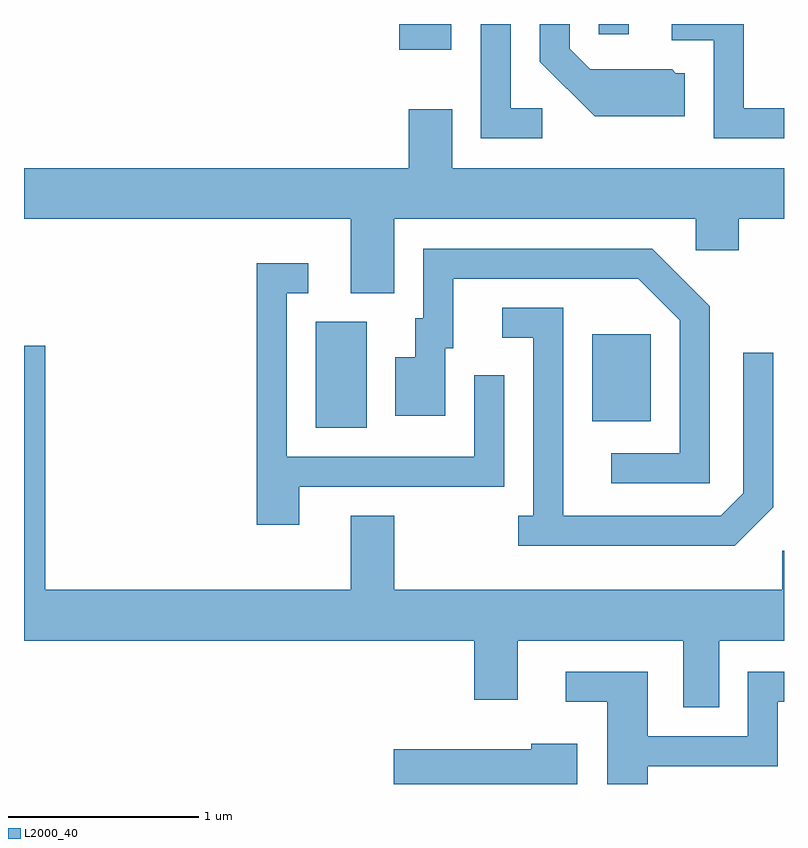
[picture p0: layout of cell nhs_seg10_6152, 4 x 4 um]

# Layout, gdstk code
import gdstk
lib = gdstk.Library(unit=1e-6, precision=1e-09)
def R(c, l, rs):  # rectangles x0, y0, x1, y1
    for r in rs: c.add(gdstk.rectangle(r[:2], r[2:], *l))
def P(c, l, *ps):  # polygons
    for p in ps: c.add(gdstk.Polygon(p, *l))
L2000_40 = (2000, 40)

nhs_seg10_6152 = lib.new_cell('nhs_seg10_6152')
R(nhs_seg10_6152, L2000_40, [(369.146,2088.396,369.414,2088.954), (370.601,2088.431,370.909,2088.889), (369.586,2090.386,369.859,2090.522), (370.636,2090.468,370.794,2090.522)])
P(nhs_seg10_6152, L2000_40, [(371.611,2090.079),(371.399,2090.079),(371.399,2090.522),(371.021,2090.522),(371.021,2090.436),(371.241,2090.436),(371.241,2089.921),(371.611,2089.921)],
  [(371.089,2090.264),(371.042,2090.264),(371.022,2090.284),(370.592,2090.284),(370.484,2090.392),(370.484,2090.522),(370.326,2090.522),(370.326,2090.324),(370.614,2090.036),(371.089,2090.036)],
  [(370.338,2090.079),(370.174,2090.079),(370.174,2090.522),(370.016,2090.522),(370.016,2089.921),(370.338,2089.921)],
  [(371.146,2089.331),(371.374,2089.331),(371.374,2089.496),(371.611,2089.496),(371.611,2089.764),(369.864,2089.764),(369.864,2090.074),(369.636,2090.074),(369.636,2089.764),(367.611,2089.764),(367.611,2089.496),(369.331,2089.496),(369.331,2089.106),(369.559,2089.106),(369.559,2089.496),(371.146,2089.496)],
  [(371.219,2089.037),(370.917,2089.339),(369.711,2089.339),(369.711,2088.974),(369.671,2088.974),(369.671,2088.769),(369.566,2088.769),(369.566,2088.461),(369.829,2088.461),(369.829,2088.816),(369.869,2088.816),(369.869,2089.181),(370.844,2089.181),(371.061,2088.963),(371.061,2088.264),(370.703,2088.264),(370.703,2088.106),(371.219,2088.106)],
  [(369.059,2088.086),(370.139,2088.086),(370.139,2088.673),(369.981,2088.673),(369.981,2088.244),(368.994,2088.244),(368.994,2089.106),(369.108,2089.106),(369.108,2089.264),(368.836,2089.264),(368.836,2087.886),(369.059,2087.886)],
  [(371.554,2087.979),(371.554,2088.793),(371.396,2088.793),(371.396,2088.052),(371.279,2087.934),(370.449,2087.934),(370.449,2089.029),(370.128,2089.029),(370.128,2088.871),(370.291,2088.871),(370.291,2087.934),(370.213,2087.934),(370.213,2087.776),(371.352,2087.776)],
  [(369.559,2087.934),(369.331,2087.934),(369.331,2087.544),(367.724,2087.544),(367.724,2088.829),(367.611,2088.829),(367.611,2087.276),(369.981,2087.276),(369.981,2086.966),(370.209,2086.966),(370.209,2087.276),(371.081,2087.276),(371.081,2086.926),(371.269,2086.926),(371.269,2087.276),(371.611,2087.276),(371.611,2087.749),(371.601,2087.749),(371.601,2087.544),(369.559,2087.544)],
  [(370.894,2086.616),(371.579,2086.616),(371.579,2086.956),(371.611,2086.956),(371.611,2087.114),(371.421,2087.114),(371.421,2086.774),(370.894,2086.774),(370.894,2087.114),(370.463,2087.114),(370.463,2086.956),(370.681,2086.956),(370.681,2086.522),(370.894,2086.522)],
  [(370.524,2086.734),(370.281,2086.734),(370.281,2086.704),(369.556,2086.704),(369.556,2086.522),(370.524,2086.522)])

lib.write_gds('nhs_seg10_6152.gds')
